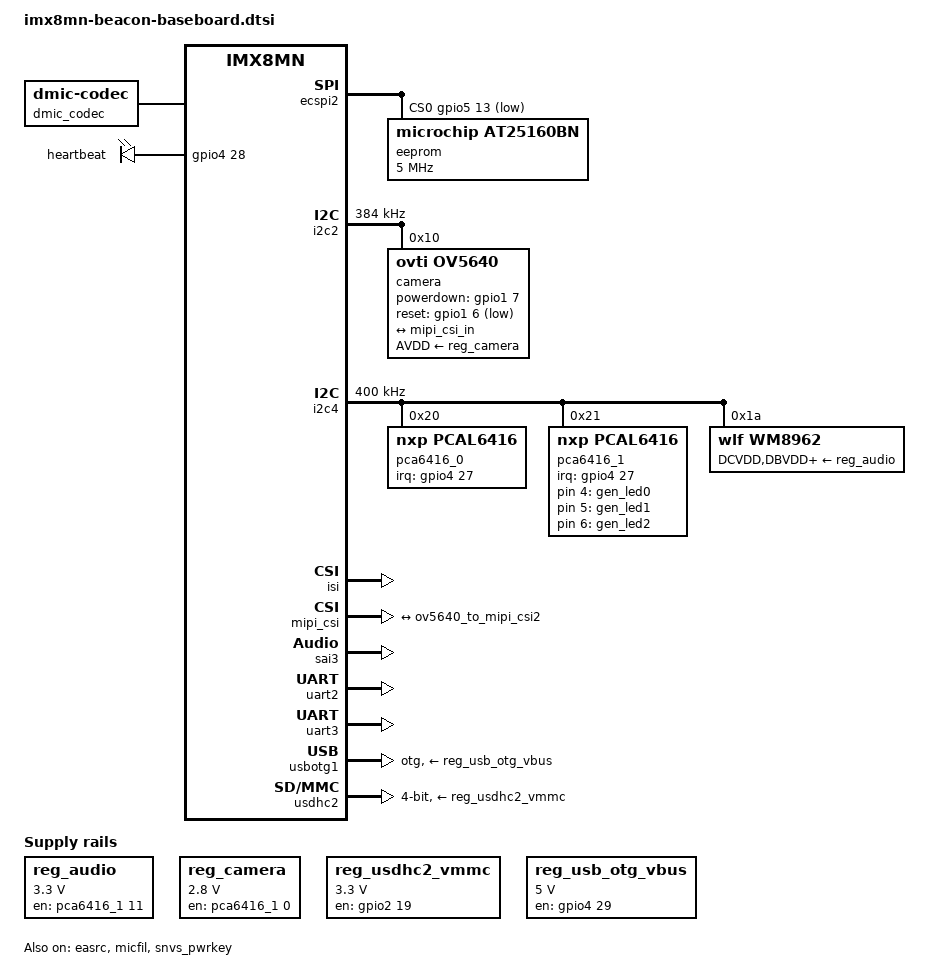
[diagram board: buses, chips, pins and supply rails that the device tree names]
// SPDX-License-Identifier: (GPL-2.0 OR MIT)
/*
 * Copyright 2020 Compass Electronics Group, LLC
 */

/ {
	dmic_codec: dmic-codec {
		compatible = "dmic-codec";
		num-channels = <1>;
		#sound-dai-cells = <0>;
	};

	leds {
		compatible = "gpio-leds";

		led-0 {
			label = "gen_led0";
			gpios = <&pca6416_1 4 GPIO_ACTIVE_HIGH>;
			default-state = "off";
		};

		led-1 {
			label = "gen_led1";
			gpios = <&pca6416_1 5 GPIO_ACTIVE_HIGH>;
			default-state = "off";
		};

		led-2 {
			label = "gen_led2";
			gpios = <&pca6416_1 6 GPIO_ACTIVE_HIGH>;
			default-state = "off";
		};

		led-3 {
			pinctrl-names = "default";
			pinctrl-0 = <&pinctrl_led3>;
			label = "heartbeat";
			gpios = <&gpio4 28 GPIO_ACTIVE_HIGH>;
			linux,default-trigger = "heartbeat";
		};
	};

	reg_audio: regulator-audio {
		compatible = "regulator-fixed";
		regulator-name = "3v3_aud";
		regulator-min-microvolt = <3300000>;
		regulator-max-microvolt = <3300000>;
		gpio = <&pca6416_1 11 GPIO_ACTIVE_HIGH>;
		enable-active-high;
	};

	reg_camera: regulator-camera {
		compatible = "regulator-fixed";
		regulator-name = "mipi_pwr";
		regulator-min-microvolt = <2800000>;
		regulator-max-microvolt = <2800000>;
		gpio = <&pca6416_1 0 GPIO_ACTIVE_HIGH>;
		enable-active-high;
		startup-delay-us = <100000>;
		regulator-always-on;
	};

	reg_usdhc2_vmmc: regulator-usdhc2 {
		compatible = "regulator-fixed";
		regulator-name = "vsd_3v3";
		regulator-min-microvolt = <3300000>;
		regulator-max-microvolt = <3300000>;
		gpio = <&gpio2 19 GPIO_ACTIVE_HIGH>;
		enable-active-high;
	};

	reg_usb_otg_vbus: regulator-usb {
		compatible = "regulator-fixed";
		pinctrl-names = "default";
		pinctrl-0 = <&pinctrl_reg_usb_otg>;
		regulator-name = "usb_otg_vbus";
		regulator-min-microvolt = <5000000>;
		regulator-max-microvolt = <5000000>;
		gpio = <&gpio4 29 GPIO_ACTIVE_HIGH>;
		enable-active-high;
	};

	sound-dmic {
		compatible = "simple-audio-card";
		simple-audio-card,name = "dmic";
		simple-audio-card,format = "pdm";
		simple-audio-card,bitclock-master = <&dailink_master>;
		simple-audio-card,frame-master = <&dailink_master>;

		dailink_master: simple-audio-card,cpu {
			sound-dai = <&micfil>;
		};

		simple-audio-card,codec {
			sound-dai = <&dmic_codec>;
		};
	};

	sound-wm8962 {
		compatible = "simple-audio-card";
		simple-audio-card,name = "wm8962";
		simple-audio-card,format = "i2s";
		simple-audio-card,widgets = "Headphone", "Headphones",
					    "Microphone", "Headset Mic",
					    "Speaker", "Speaker";
		simple-audio-card,routing = "Headphones", "HPOUTL",
					    "Headphones", "HPOUTR",
					    "Speaker", "SPKOUTL",
					    "Speaker", "SPKOUTR",
					    "Headset Mic", "MICBIAS",
					    "IN3R", "Headset Mic";

		simple-audio-card,cpu {
			sound-dai = <&sai3>;
		};

		simple-audio-card,codec {
			sound-dai = <&wm8962>;
			clocks = <&clk IMX8MN_CLK_SAI3_ROOT>;
			frame-master;
			bitclock-master;
		};
	};
};

&ecspi2 {
	pinctrl-names = "default";
	pinctrl-0 = <&pinctrl_espi2>;
	cs-gpios = <&gpio5 13 GPIO_ACTIVE_LOW>;
	status = "okay";

	eeprom@0 {
		compatible = "microchip,at25160bn", "atmel,at25";
		reg = <0>;
		spi-max-frequency = <5000000>;
		spi-cpha;
		spi-cpol;
		pagesize = <32>;
		size = <2048>;
		address-width = <16>;
	};
};

&i2c2 {
	clock-frequency = <384000>;
	pinctrl-names = "default";
	pinctrl-0 = <&pinctrl_i2c2>;
	status = "okay";

	camera@10 {
		compatible = "ovti,ov5640";
		pinctrl-names = "default";
		pinctrl-0 = <&pinctrl_ov5640>;
		reg = <0x10>;
		clocks = <&clk IMX8MN_CLK_CLKO1>;
		clock-names = "xclk";
		assigned-clocks = <&clk IMX8MN_CLK_CLKO1>;
		assigned-clock-parents = <&clk IMX8MN_CLK_24M>;
		assigned-clock-rates = <24000000>;
		AVDD-supply = <&reg_camera>;  /* 2.8v */
		powerdown-gpios = <&gpio1 7 GPIO_ACTIVE_HIGH>;
		reset-gpios = <&gpio1 6 GPIO_ACTIVE_LOW>;

		port {
			/* MIPI CSI-2 bus endpoint */
			ov5640_to_mipi_csi2: endpoint {
				remote-endpoint = <&mipi_csi_in>;
				clock-lanes = <0>;
				data-lanes = <1 2>;
			};
		};
	};
};
&i2c4 {
	clock-frequency = <400000>;
	pinctrl-names = "default";
	pinctrl-0 = <&pinctrl_i2c4>;
	status = "okay";

	pca6416_0: gpio@20 {
		compatible = "nxp,pcal6416";
		reg = <0x20>;
		pinctrl-names = "default";
		pinctrl-0 = <&pinctrl_pcal6414>;
		gpio-controller;
		#gpio-cells = <2>;
		interrupt-parent = <&gpio4>;
		interrupts = <27 IRQ_TYPE_LEVEL_LOW>;
	};

	pca6416_1: gpio@21 {
		compatible = "nxp,pcal6416";
		reg = <0x21>;
		gpio-controller;
		#gpio-cells = <2>;
		interrupt-parent = <&gpio4>;
		interrupts = <27 IRQ_TYPE_LEVEL_LOW>;
	};

	wm8962: audio-codec@1a {
		compatible = "wlf,wm8962";
		reg = <0x1a>;
		clocks = <&clk IMX8MN_CLK_SAI3_ROOT>;
		DCVDD-supply = <&reg_audio>;
		DBVDD-supply = <&reg_audio>;
		AVDD-supply = <&reg_audio>;
		CPVDD-supply = <&reg_audio>;
		MICVDD-supply = <&reg_audio>;
		PLLVDD-supply = <&reg_audio>;
		SPKVDD1-supply = <&reg_audio>;
		SPKVDD2-supply = <&reg_audio>;
		gpio-cfg = <
			0x0000 /* 0:Default */
			0x0000 /* 1:Default */
			0x0000 /* 2:FN_DMICCLK */
			0x0000 /* 3:Default */
			0x0000 /* 4:FN_DMICCDAT */
			0x0000 /* 5:Default */
		>;
		#sound-dai-cells = <0>;
	};
};

&isi {
	status = "okay";
};

&easrc {
	fsl,asrc-rate = <48000>;
	status = "okay";
};

&mipi_csi {
	status = "okay";

	ports {
		port@0 {
			mipi_csi_in: endpoint {
				remote-endpoint = <&ov5640_to_mipi_csi2>;
				data-lanes = <1 2>;
			};
		};
	};
};

&micfil {
	pinctrl-names = "default";
	pinctrl-0 = <&pinctrl_pdm>;
	assigned-clocks = <&clk IMX8MN_CLK_PDM>;
	assigned-clock-parents = <&clk IMX8MN_AUDIO_PLL1_OUT>;
	assigned-clock-rates = <49152000>;
	status = "okay";
};

&sai3 {
	pinctrl-names = "default";
	pinctrl-0 = <&pinctrl_sai3>;
	assigned-clocks = <&clk IMX8MN_CLK_SAI3>;
	assigned-clock-parents = <&clk IMX8MN_AUDIO_PLL1_OUT>;
	assigned-clock-rates = <24576000>;
	fsl,sai-mclk-direction-output;
	status = "okay";
};

&snvs_pwrkey {
	status = "okay";
};

&uart2 { /* console */
	pinctrl-names = "default";
	pinctrl-0 = <&pinctrl_uart2>;
	status = "okay";
};

&uart3 {
	pinctrl-names = "default";
	pinctrl-0 = <&pinctrl_uart3>;
	assigned-clocks = <&clk IMX8MN_CLK_UART3>;
	assigned-clock-parents = <&clk IMX8MN_SYS_PLL1_80M>;
	uart-has-rtscts;
	status = "okay";
};

&usbotg1 {
	vbus-supply = <&reg_usb_otg_vbus>;
	disable-over-current;
	dr_mode = "otg";
	status = "okay";
};

&usdhc2 {
	pinctrl-names = "default", "state_100mhz", "state_200mhz";
	pinctrl-0 = <&pinctrl_usdhc2>, <&pinctrl_usdhc2_gpio>;
	pinctrl-1 = <&pinctrl_usdhc2_100mhz>;
	pinctrl-2 = <&pinctrl_usdhc2_200mhz>;
	bus-width = <4>;
	vmmc-supply = <&reg_usdhc2_vmmc>;
	status = "okay";
};

&iomuxc {
	pinctrl_espi2: espi2grp {
		fsl,pins = <
			MX8MN_IOMUXC_ECSPI2_SCLK_ECSPI2_SCLK		0x82
			MX8MN_IOMUXC_ECSPI2_MOSI_ECSPI2_MOSI		0x82
			MX8MN_IOMUXC_ECSPI2_MISO_ECSPI2_MISO		0x82
			MX8MN_IOMUXC_ECSPI2_SS0_GPIO5_IO13		0x41
		>;
	};

	pinctrl_i2c2: i2c2grp {
		fsl,pins = <
			MX8MN_IOMUXC_I2C2_SCL_I2C2_SCL		0x400001c3
			MX8MN_IOMUXC_I2C2_SDA_I2C2_SDA		0x400001c3
		>;
	};

	pinctrl_i2c4: i2c4grp {
		fsl,pins = <
			MX8MN_IOMUXC_I2C4_SCL_I2C4_SCL		0x400001c3
			MX8MN_IOMUXC_I2C4_SDA_I2C4_SDA		0x400001c3
		>;
	};

	pinctrl_led3: led3grp {
		fsl,pins = <
			MX8MN_IOMUXC_SAI3_RXFS_GPIO4_IO28	0x41
		>;
	};

	pinctrl_ov5640: ov5640grp {
		fsl,pins = <
			MX8MN_IOMUXC_GPIO1_IO07_GPIO1_IO7		0x19
			MX8MN_IOMUXC_GPIO1_IO06_GPIO1_IO6		0x19
			MX8MN_IOMUXC_GPIO1_IO14_CCMSRCGPCMIX_CLKO1	0x59
		>;
	};

	pinctrl_pcal6414: pcal6414-gpiogrp {
		fsl,pins = <
			MX8MN_IOMUXC_SAI2_MCLK_GPIO4_IO27		0x19
		>;
	};

	pinctrl_pdm: pdmgrp {
		fsl,pins = <
			MX8MN_IOMUXC_SAI5_RXC_PDM_CLK	0xd6
			MX8MN_IOMUXC_SAI5_RXD0_PDM_BIT_STREAM0	0xd6
		>;
	};

	pinctrl_reg_usb_otg: reg-otggrp {
		fsl,pins = <
			MX8MN_IOMUXC_SAI3_RXC_GPIO4_IO29     0x19
		>;
	};

	pinctrl_sai3: sai3grp {
		fsl,pins = <
			MX8MN_IOMUXC_SAI3_TXFS_SAI3_TX_SYNC     0xd6
			MX8MN_IOMUXC_SAI3_TXC_SAI3_TX_BCLK      0xd6
			MX8MN_IOMUXC_SAI3_MCLK_SAI3_MCLK        0xd6
			MX8MN_IOMUXC_SAI3_TXD_SAI3_TX_DATA0     0xd6
			MX8MN_IOMUXC_SAI3_RXD_SAI3_RX_DATA0	0xd6
		>;
	};

	pinctrl_uart2: uart2grp {
		fsl,pins = <
			MX8MN_IOMUXC_UART2_RXD_UART2_DCE_RX	0x140
			MX8MN_IOMUXC_UART2_TXD_UART2_DCE_TX	0x140
		>;
	};

	pinctrl_uart3: uart3grp {
		fsl,pins = <
			MX8MN_IOMUXC_ECSPI1_SCLK_UART3_DCE_RX	0x40
			MX8MN_IOMUXC_ECSPI1_MOSI_UART3_DCE_TX	0x40
			MX8MN_IOMUXC_ECSPI1_MISO_UART3_DCE_CTS_B	0x40
			MX8MN_IOMUXC_ECSPI1_SS0_UART3_DCE_RTS_B	0x40
		>;
	};

	pinctrl_usdhc2_gpio: usdhc2gpiogrp {
		fsl,pins = <
			MX8MN_IOMUXC_SD2_CD_B_USDHC2_CD_B	0x41
			MX8MN_IOMUXC_SD2_RESET_B_GPIO2_IO19	0x41
		>;
	};

	pinctrl_usdhc2: usdhc2grp {
		fsl,pins = <
			MX8MN_IOMUXC_SD2_CLK_USDHC2_CLK	0x190
			MX8MN_IOMUXC_SD2_CMD_USDHC2_CMD	0x1d0
			MX8MN_IOMUXC_SD2_DATA0_USDHC2_DATA0	0x1d0
			MX8MN_IOMUXC_SD2_DATA1_USDHC2_DATA1	0x1d0
			MX8MN_IOMUXC_SD2_DATA2_USDHC2_DATA2	0x1d0
			MX8MN_IOMUXC_SD2_DATA3_USDHC2_DATA3	0x1d0
			MX8MN_IOMUXC_GPIO1_IO04_USDHC2_VSELECT	0x1d0
		>;
	};

	pinctrl_usdhc2_100mhz: usdhc2-100mhzgrp {
		fsl,pins = <
			MX8MN_IOMUXC_SD2_CLK_USDHC2_CLK	0x194
			MX8MN_IOMUXC_SD2_CMD_USDHC2_CMD	0x1d4
			MX8MN_IOMUXC_SD2_DATA0_USDHC2_DATA0	0x1d4
			MX8MN_IOMUXC_SD2_DATA1_USDHC2_DATA1	0x1d4
			MX8MN_IOMUXC_SD2_DATA2_USDHC2_DATA2	0x1d4
			MX8MN_IOMUXC_SD2_DATA3_USDHC2_DATA3	0x1d4
			MX8MN_IOMUXC_GPIO1_IO04_USDHC2_VSELECT	0x1d0
		>;
	};

	pinctrl_usdhc2_200mhz: usdhc2-200mhzgrp {
		fsl,pins = <
			MX8MN_IOMUXC_SD2_CLK_USDHC2_CLK	0x196
			MX8MN_IOMUXC_SD2_CMD_USDHC2_CMD	0x1d6
			MX8MN_IOMUXC_SD2_DATA0_USDHC2_DATA0	0x1d6
			MX8MN_IOMUXC_SD2_DATA1_USDHC2_DATA1	0x1d6
			MX8MN_IOMUXC_SD2_DATA2_USDHC2_DATA2	0x1d6
			MX8MN_IOMUXC_SD2_DATA3_USDHC2_DATA3	0x1d6
			MX8MN_IOMUXC_GPIO1_IO04_USDHC2_VSELECT	0x1d0
		>;
	};
};
